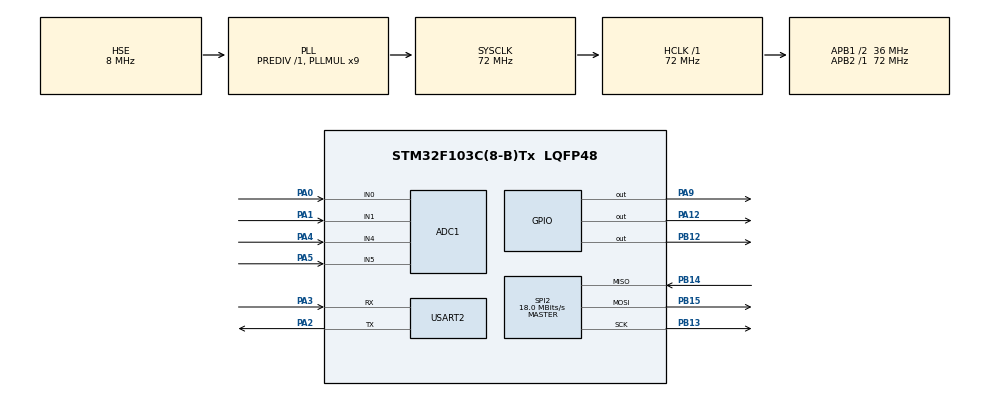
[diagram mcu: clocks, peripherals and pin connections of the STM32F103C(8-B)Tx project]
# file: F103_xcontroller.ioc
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ADC1.ContinuousConvMode=DISABLE
ADC1.DataAlign=ADC_DATAALIGN_RIGHT
ADC1.EnableInjectedConversion=DISABLE
ADC1.EnableRegularConversion=DISABLE
ADC1.InjNumberOfConversion=4
ADC1.master=1
Mcu.Family=STM32F1
Mcu.Name=STM32F103C(8-B)Tx
Mcu.Package=LQFP48
NVIC.PriorityGroup=NVIC_PRIORITYGROUP_4
NVIC.TIM3_IRQn=true\:0\:0\:false\:false\:true\:true\:true
PA0-WKUP.Signal=ADCx_IN0
PA1.Signal=ADCx_IN1
PA12.Signal=GPIO_Output
PA13.Mode=Serial_Wire
PA13.Signal=SYS_JTMS-SWDIO
PA14.Mode=Serial_Wire
PA14.Signal=SYS_JTCK-SWCLK
PA2.Mode=Asynchronous
PA2.Signal=USART2_TX
PA3.Mode=Asynchronous
PA3.Signal=USART2_RX
PA4.Signal=ADCx_IN4
PA5.Signal=ADCx_IN5
PA9.Signal=GPIO_Output
PB12.Signal=GPIO_Output
PB13.Mode=Full_Duplex_Master
PB13.Signal=SPI2_SCK
PB14.Mode=Full_Duplex_Master
PB14.Signal=SPI2_MISO
PB15.Mode=Full_Duplex_Master
PB15.Signal=SPI2_MOSI
PD0-OSC_IN.Mode=HSE-External-Oscillator
PD0-OSC_IN.Signal=RCC_OSC_IN
PD1-OSC_OUT.Mode=HSE-External-Oscillator
PD1-OSC_OUT.Signal=RCC_OSC_OUT
ProjectManager.HeapSize=0x200
ProjectManager.StackSize=0x400
ProjectManager.TargetToolchain=STM32CubeIDE
RCC.ADCPresc=RCC_ADCPCLK2_DIV6
RCC.AHBFreq_Value=72000000
RCC.APB1CLKDivider=RCC_HCLK_DIV2
RCC.APB1Freq_Value=36000000
RCC.APB1TimFreq_Value=72000000
RCC.APB2Freq_Value=72000000
RCC.APB2TimFreq_Value=72000000
RCC.HCLKFreq_Value=72000000
RCC.PLLMUL=RCC_PLL_MUL9
RCC.PLLSourceVirtual=RCC_PLLSOURCE_HSE
RCC.SYSCLKFreq_VALUE=72000000
RCC.SYSCLKSource=RCC_SYSCLKSOURCE_PLLCLK
RCC.USBFreq_Value=72000000
SH.ADCx_IN0.0=ADC1_IN0,IN0
SH.ADCx_IN1.0=ADC1_IN1,IN1
SH.ADCx_IN4.0=ADC1_IN4,IN4
SH.ADCx_IN5.0=ADC1_IN5,IN5
SPI2.BaudRatePrescaler=SPI_BAUDRATEPRESCALER_2
SPI2.CalculateBaudRate=18.0 MBits/s
SPI2.Direction=SPI_DIRECTION_2LINES
SPI2.Mode=SPI_MODE_MASTER
SPI2.VirtualType=VM_MASTER
TIM3.Channel-Output\ Compare1\ No\ Output=TIM_CHANNEL_1
TIM3.Channel-Output\ Compare2\ No\ Output=TIM_CHANNEL_2
TIM3.Channel-Output\ Compare3\ No\ Output=TIM_CHANNEL_3
TIM3.Channel-Output\ Compare4\ No\ Output=TIM_CHANNEL_4
TIM3.ClockDivision=TIM_CLOCKDIVISION_DIV1
TIM3.Period=2000-1
TIM3.Prescaler=36000-1
TIM3.Pulse-Output\ Compare1\ No\ Output=200-1
TIM3.Pulse-Output\ Compare2\ No\ Output=400-1
TIM3.Pulse-Output\ Compare3\ No\ Output=1000-1
TIM3.Pulse-Output\ Compare4\ No\ Output=1800-1
TIM3.TIM_MasterOutputTrigger=TIM_TRGO_UPDATE
TIM3.TIM_MasterSlaveMode=TIM_MASTERSLAVEMODE_DISABLE
USART2.VirtualMode=VM_ASYNC
VP_TIM3_VS_ClockSourceINT.Mode=Internal
VP_TIM3_VS_no_output1.Mode=Output Compare1 No Output
VP_TIM3_VS_no_output2.Mode=Output Compare2 No Output
VP_TIM3_VS_no_output3.Mode=Output Compare3 No Output
VP_TIM3_VS_no_output4.Mode=Output Compare4 No Output
board=custom

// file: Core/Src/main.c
/* USER CODE BEGIN Header */
/**
  ******************************************************************************
  * @file           : main.c
  * @brief          : Main program body
  ******************************************************************************
  * @attention
  *
  * <h2><center>&copy; Copyright (c) 2020 STMicroelectronics.
  * All rights reserved.</center></h2>
  *
  * This software component is licensed by ST under BSD 3-Clause license,
  * the "License"; You may not use this file except in compliance with the
  * License. You may obtain a copy of the License at:
  *                        opensource.org/licenses/BSD-3-Clause
  *
  ******************************************************************************
  */
/* USER CODE END Header */

#include "main.h"

/* USER CODE BEGIN Includes */
#include "radio_comm.h"
#include "settings.h"
/* USER CODE END Includes */

/* USER CODE BEGIN PM */
volatile uint32_t adcValues[4] = {0};
volatile uint32_t adcCounter = 0;
/* USER CODE END PM */

ADC_HandleTypeDef hadc1;

SPI_HandleTypeDef hspi2;

TIM_HandleTypeDef htim3;

UART_HandleTypeDef huart2;

void SystemClock_Config(void);
static void MX_GPIO_Init(void);
static void MX_USART2_UART_Init(void);
static void MX_SPI2_Init(void);
static void MX_ADC1_Init(void);
static void MX_TIM3_Init(void);
/* USER CODE BEGIN PFP */
void ADC_SetActiveChannel(ADC_HandleTypeDef *hadc, uint32_t AdcChannel)
{
  ADC_ChannelConfTypeDef sConfig = {0};
  sConfig.Channel = AdcChannel;
  sConfig.Rank = 1;
  sConfig.SamplingTime = ADC_SAMPLETIME_239CYCLES_5;
  if (HAL_ADC_ConfigChannel(hadc, &sConfig) != HAL_OK)
  {
   Error_Handler();
  }
}
/* USER CODE END PFP */

int main(void)
{

  /* MCU Configuration--------------------------------------------------------*/

  /* Reset of all peripherals, Initializes the Flash interface and the Systick. */
  HAL_Init();

  /* Configure the system clock */
  SystemClock_Config();

  /* Initialize all configured peripherals */
  MX_GPIO_Init();
  MX_USART2_UART_Init();
  MX_SPI2_Init();
  MX_ADC1_Init();
  MX_TIM3_Init();
  /* USER CODE BEGIN 2 */

  SpiPort port = {0};
  port.hspi = &hspi2;
  port.CE_PORT = GPIOA;
  port.CE_PIN = GPIO_PIN_9;
  port.CSN_PORT = GPIOB;
  port.CSN_PIN = GPIO_PIN_12;
  radio_comm_init(&port);

  HAL_TIM_Base_Start_IT(&htim3);
  //HAL_TIM_OC_Start_IT(&htim3, TIM_CHANNEL_1);
  //HAL_TIM_OC_Start_IT(&htim3, TIM_CHANNEL_2);
  //HAL_TIM_OC_Start_IT(&htim3, TIM_CHANNEL_3);
  //HAL_TIM_OC_Start_IT(&htim3, TIM_CHANNEL_4);

  //HAL_ADC_Start_IT(&hadc1);
  HAL_ADC_Start(&hadc1);

  RFM70_SwitchToTxMode();

  RadioFrame rf;
  rf.len = sizeof(RadioFrame);
  rf.header = 'x';
  /* USER CODE END 2 */

  /* Infinite loop */
  /* USER CODE BEGIN WHILE */
  while (1)
  {

	    if(HAL_ADC_PollForConversion(&hadc1, 10) == HAL_OK)
	    {
	      adcValues[0] = HAL_ADC_GetValue(&hadc1); // Get X value
	      ADC_SetActiveChannel(&hadc1, ADC_CHANNEL_1);
	      HAL_ADC_Start(&hadc1);
	    }

	    if(HAL_ADC_PollForConversion(&hadc1, 10) == HAL_OK)
	    {
	      adcValues[1] = HAL_ADC_GetValue(&hadc1); // Get Y value
	      ADC_SetActiveChannel(&hadc1, ADC_CHANNEL_4);
	      HAL_ADC_Start(&hadc1);
	    }

	    if(HAL_ADC_PollForConversion(&hadc1, 10) == HAL_OK)
	    {
			adcValues[2] = HAL_ADC_GetValue(&hadc1); // Get Y value
			ADC_SetActiveChannel(&hadc1, ADC_CHANNEL_5);
			HAL_ADC_Start(&hadc1);
	    }

	    if(HAL_ADC_PollForConversion(&hadc1, 10) == HAL_OK)
	    {
			adcValues[3] = HAL_ADC_GetValue(&hadc1); // Get Y value
			ADC_SetActiveChannel(&hadc1, ADC_CHANNEL_0);
			HAL_ADC_Start(&hadc1);
	    }

	    adcCounter++;

	    rf.payload[0] = adcValues[0];
	    rf.payload[1] = adcValues[1];
	    rf.payload[2] = adcValues[2];
	    rf.payload[3] = adcValues[3];

	    radio_comm_send_frame(&rf);

    /* USER CODE END WHILE */

    /* USER CODE BEGIN 3 */
	  //printStabilisation();
  }
  /* USER CODE END 3 */
}

void SystemClock_Config(void)
{
  RCC_OscInitTypeDef RCC_OscInitStruct = {0};
  RCC_ClkInitTypeDef RCC_ClkInitStruct = {0};
  RCC_PeriphCLKInitTypeDef PeriphClkInit = {0};

  /** Initializes the CPU, AHB and APB busses clocks
  */
  RCC_OscInitStruct.OscillatorType = RCC_OSCILLATORTYPE_HSE;
  RCC_OscInitStruct.HSEState = RCC_HSE_ON;
  RCC_OscInitStruct.HSEPredivValue = RCC_HSE_PREDIV_DIV1;
  RCC_OscInitStruct.HSIState = RCC_HSI_ON;
  RCC_OscInitStruct.PLL.PLLState = RCC_PLL_ON;
  RCC_OscInitStruct.PLL.PLLSource = RCC_PLLSOURCE_HSE;
  RCC_OscInitStruct.PLL.PLLMUL = RCC_PLL_MUL9;
  if (HAL_RCC_OscConfig(&RCC_OscInitStruct) != HAL_OK)
  {
    Error_Handler();
  }
  /** Initializes the CPU, AHB and APB busses clocks
  */
  RCC_ClkInitStruct.ClockType = RCC_CLOCKTYPE_HCLK|RCC_CLOCKTYPE_SYSCLK
                              |RCC_CLOCKTYPE_PCLK1|RCC_CLOCKTYPE_PCLK2;
  RCC_ClkInitStruct.SYSCLKSource = RCC_SYSCLKSOURCE_PLLCLK;
  RCC_ClkInitStruct.AHBCLKDivider = RCC_SYSCLK_DIV1;
  RCC_ClkInitStruct.APB1CLKDivider = RCC_HCLK_DIV2;
  RCC_ClkInitStruct.APB2CLKDivider = RCC_HCLK_DIV1;

  if (HAL_RCC_ClockConfig(&RCC_ClkInitStruct, FLASH_LATENCY_2) != HAL_OK)
  {
    Error_Handler();
  }
  PeriphClkInit.PeriphClockSelection = RCC_PERIPHCLK_ADC;
  PeriphClkInit.AdcClockSelection = RCC_ADCPCLK2_DIV6;
  if (HAL_RCCEx_PeriphCLKConfig(&PeriphClkInit) != HAL_OK)
  {
    Error_Handler();
  }
}

static void MX_ADC1_Init(void)
{

  /** Common config
  */
  hadc1.Instance = ADC1;
  hadc1.Init.ScanConvMode = ADC_SCAN_ENABLE;
  hadc1.Init.ContinuousConvMode = DISABLE;
  hadc1.Init.DiscontinuousConvMode = DISABLE;
  hadc1.Init.ExternalTrigConv = ADC_SOFTWARE_START;
  hadc1.Init.DataAlign = ADC_DATAALIGN_RIGHT;
  hadc1.Init.NbrOfConversion = 1;
  if (HAL_ADC_Init(&hadc1) != HAL_OK)
  {
    Error_Handler();
  }

}

static void MX_SPI2_Init(void)
{

  /* SPI2 parameter configuration*/
  hspi2.Instance = SPI2;
  hspi2.Init.Mode = SPI_MODE_MASTER;
  hspi2.Init.Direction = SPI_DIRECTION_2LINES;
  hspi2.Init.DataSize = SPI_DATASIZE_8BIT;
  hspi2.Init.CLKPolarity = SPI_POLARITY_LOW;
  hspi2.Init.CLKPhase = SPI_PHASE_1EDGE;
  hspi2.Init.NSS = SPI_NSS_SOFT;
  hspi2.Init.BaudRatePrescaler = SPI_BAUDRATEPRESCALER_2;
  hspi2.Init.FirstBit = SPI_FIRSTBIT_MSB;
  hspi2.Init.TIMode = SPI_TIMODE_DISABLE;
  hspi2.Init.CRCCalculation = SPI_CRCCALCULATION_DISABLE;
  hspi2.Init.CRCPolynomial = 10;
  if (HAL_SPI_Init(&hspi2) != HAL_OK)
  {
    Error_Handler();
  }

}

static void MX_TIM3_Init(void)
{

  TIM_ClockConfigTypeDef sClockSourceConfig = {0};
  TIM_MasterConfigTypeDef sMasterConfig = {0};
  TIM_OC_InitTypeDef sConfigOC = {0};

  htim3.Instance = TIM3;
  htim3.Init.Prescaler = 36000-1;
  htim3.Init.CounterMode = TIM_COUNTERMODE_UP;
  htim3.Init.Period = 2000-1;
  htim3.Init.ClockDivision = TIM_CLOCKDIVISION_DIV1;
  htim3.Init.AutoReloadPreload = TIM_AUTORELOAD_PRELOAD_DISABLE;
  if (HAL_TIM_Base_Init(&htim3) != HAL_OK)
  {
    Error_Handler();
  }
  sClockSourceConfig.ClockSource = TIM_CLOCKSOURCE_INTERNAL;
  if (HAL_TIM_ConfigClockSource(&htim3, &sClockSourceConfig) != HAL_OK)
  {
    Error_Handler();
  }
  if (HAL_TIM_OC_Init(&htim3) != HAL_OK)
  {
    Error_Handler();
  }
  sMasterConfig.MasterOutputTrigger = TIM_TRGO_UPDATE;
  sMasterConfig.MasterSlaveMode = TIM_MASTERSLAVEMODE_DISABLE;
  if (HAL_TIMEx_MasterConfigSynchronization(&htim3, &sMasterConfig) != HAL_OK)
  {
    Error_Handler();
  }
  sConfigOC.OCMode = TIM_OCMODE_TIMING;
  sConfigOC.Pulse = 200-1;
  sConfigOC.OCPolarity = TIM_OCPOLARITY_HIGH;
  sConfigOC.OCFastMode = TIM_OCFAST_DISABLE;
  if (HAL_TIM_OC_ConfigChannel(&htim3, &sConfigOC, TIM_CHANNEL_1) != HAL_OK)
  {
    Error_Handler();
  }
  sConfigOC.Pulse = 400-1;
  if (HAL_TIM_OC_ConfigChannel(&htim3, &sConfigOC, TIM_CHANNEL_2) != HAL_OK)
  {
    Error_Handler();
  }
  sConfigOC.Pulse = 1000-1;
  if (HAL_TIM_OC_ConfigChannel(&htim3, &sConfigOC, TIM_CHANNEL_3) != HAL_OK)
  {
    Error_Handler();
  }
  sConfigOC.Pulse = 1800-1;
  if (HAL_TIM_OC_ConfigChannel(&htim3, &sConfigOC, TIM_CHANNEL_4) != HAL_OK)
  {
    Error_Handler();
  }

}

static void MX_USART2_UART_Init(void)
{

  huart2.Instance = USART2;
  huart2.Init.BaudRate = 115200;
  huart2.Init.WordLength = UART_WORDLENGTH_8B;
  huart2.Init.StopBits = UART_STOPBITS_1;
  huart2.Init.Parity = UART_PARITY_NONE;
  huart2.Init.Mode = UART_MODE_TX_RX;
  huart2.Init.HwFlowCtl = UART_HWCONTROL_NONE;
  huart2.Init.OverSampling = UART_OVERSAMPLING_16;
  if (HAL_UART_Init(&huart2) != HAL_OK)
  {
    Error_Handler();
  }

}

static void MX_GPIO_Init(void)
{
  GPIO_InitTypeDef GPIO_InitStruct = {0};

  /* GPIO Ports Clock Enable */
  __HAL_RCC_GPIOD_CLK_ENABLE();
  __HAL_RCC_GPIOA_CLK_ENABLE();
  __HAL_RCC_GPIOB_CLK_ENABLE();

  /*Configure GPIO pin Output Level */
  HAL_GPIO_WritePin(GPIOB, GPIO_PIN_12, GPIO_PIN_RESET);

  /*Configure GPIO pin Output Level */
  HAL_GPIO_WritePin(GPIOA, GPIO_PIN_9|GPIO_PIN_12, GPIO_PIN_RESET);

  /*Configure GPIO pin : PB12 */
  GPIO_InitStruct.Pin = GPIO_PIN_12;
  GPIO_InitStruct.Mode = GPIO_MODE_OUTPUT_PP;
  GPIO_InitStruct.Pull = GPIO_NOPULL;
  GPIO_InitStruct.Speed = GPIO_SPEED_FREQ_LOW;
  HAL_GPIO_Init(GPIOB, &GPIO_InitStruct);

  /*Configure GPIO pins : PA9 PA12 */
  GPIO_InitStruct.Pin = GPIO_PIN_9|GPIO_PIN_12;
  GPIO_InitStruct.Mode = GPIO_MODE_OUTPUT_PP;
  GPIO_InitStruct.Pull = GPIO_NOPULL;
  GPIO_InitStruct.Speed = GPIO_SPEED_FREQ_LOW;
  HAL_GPIO_Init(GPIOA, &GPIO_InitStruct);

}

/* USER CODE BEGIN 4 */
__attribute__((weak)) int _read(int file, char *ptr, int len)
{
	//int DataIdx;

//	for (DataIdx = 0; DataIdx < len; DataIdx++)
//	{
//		*ptr++ = __io_getchar();
//	}

return len;
}

__attribute__((weak)) int _write(int file, char *ptr, int len)
{
	//int DataIdx;
	HAL_UART_Transmit(&huart2, ptr, len, HAL_MAX_DELAY);
//	for (DataIdx = 0; DataIdx < len; DataIdx++)
//	{
//		__io_putchar(*ptr++);
//	}
	return len;
}

void HAL_ADC_ConvCpltCallback(ADC_HandleTypeDef* hadc)
{
	//HAL_UART_Transmit(&huart2, "d\n", sizeof("d\n"), 100);
	//Joystick[0] = HAL_ADC_GetValue(&hadc1);

	//HAL_ADC_Start_DMA(&hadc1, adcValues, 4);
  /* Prevent unused argument(s) compilation warning */
  //UNUSED(hadc);
  /* NOTE : This function Should not be modified, when the callback is needed,
            the HAL_ADC_ConvCpltCallback could be implemented in the user file
   */
}

__weak void HAL_TIM_PeriodElapsedCallback(TIM_HandleTypeDef *htim)
{
  /* Prevent unused argument(s) compilation warning */
	printf("adcCounter:%d, A0=%d, A1=%d, A2=%d, A3=%d\n", adcCounter, adcValues[0], adcValues[1], adcValues[2], adcValues[3]);
	adcCounter = 0;
  UNUSED(htim);

  /* NOTE : This function should not be modified, when the callback is needed,
            the HAL_TIM_PeriodElapsedCallback could be implemented in the user file
   */
}

__weak void HAL_TIM_OC_DelayElapsedCallback(TIM_HandleTypeDef *htim)
{
  /* Prevent unused argument(s) compilation warning */
	//printf("%s\n", __FUNCTION__);
	switch (htim->Channel) {
	 case HAL_TIM_ACTIVE_CHANNEL_1:
	 //HAL_GPIO_WritePin(GPIOC, GPIO_PIN_0, GPIO_PIN_RESET);
		 printf("%d\n", htim->Channel);
	 break;
	 case HAL_TIM_ACTIVE_CHANNEL_2:
	 //HAL_GPIO_WritePin(GPIOC, GPIO_PIN_1, GPIO_PIN_RESET);
		 printf("%d\n", htim->Channel);
	 break;
	 case HAL_TIM_ACTIVE_CHANNEL_3:
	 //HAL_GPIO_WritePin(GPIOC, GPIO_PIN_2, GPIO_PIN_RESET);
		 printf("%d\n", htim->Channel);
	 break;
	 case HAL_TIM_ACTIVE_CHANNEL_4:
	 //HAL_GPIO_WritePin(GPIOC, GPIO_PIN_3, GPIO_PIN_RESET);
		 printf("%d\n", htim->Channel);
	 break;
	 default:
	 break;
	 }
  UNUSED(htim);

  /* NOTE : This function should not be modified, when the callback is needed,
            the HAL_TIM_OC_DelayElapsedCallback could be implemented in the user file
   */
}

/* USER CODE END 4 */

void Error_Handler(void)
{
}

/************************ (C) COPYRIGHT STMicroelectronics *****END OF FILE****/
